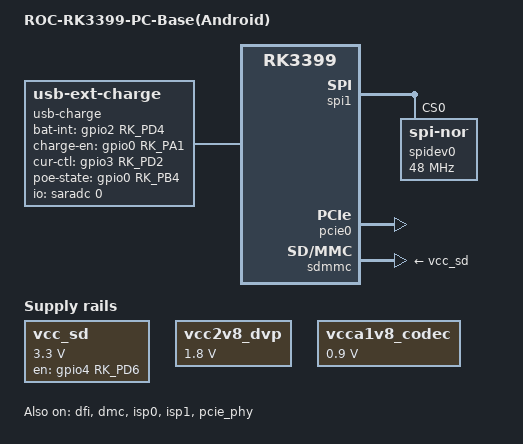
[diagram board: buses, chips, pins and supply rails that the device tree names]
/*
 * Copyright (c) 2016 Fuzhou Rockchip Electronics Co., Ltd
 *
 * This file is dual-licensed: you can use it either under the terms
 * of the GPL or the X11 license, at your option. Note that this dual
 * licensing only applies to this file, and not this project as a
 * whole.
 *
 *  a) This file is free software; you can redistribute it and/or
 *     modify it under the terms of the GNU General Public License as
 *     published by the Free Software Foundation; either version 2 of the
 *     License, or (at your option) any later version.
 *
 *     This file is distributed in the hope that it will be useful,
 *     but WITHOUT ANY WARRANTY; without even the implied warranty of
 *     MERCHANTABILITY or FITNESS FOR A PARTICULAR PURPOSE.  See the
 *     GNU General Public License for more details.
 *
 * Or, alternatively,
 *
 *  b) Permission is hereby granted, free of charge, to any person
 *     obtaining a copy of this software and associated documentation
 *     files (the "Software"), to deal in the Software without
 *     restriction, including without limitation the rights to use,
 *     copy, modify, merge, publish, distribute, sublicense, and/or
 *     sell copies of the Software, and to permit persons to whom the
 *     Software is furnished to do so, subject to the following
 *     conditions:
 *
 *     The above copyright notice and this permission notice shall be
 *     included in all copies or substantial portions of the Software.
 *
 *     THE SOFTWARE IS PROVIDED "AS IS", WITHOUT WARRANTY OF ANY KIND,
 *     EXPRESS OR IMPLIED, INCLUDING BUT NOT LIMITED TO THE WARRANTIES
 *     OF MERCHANTABILITY, FITNESS FOR A PARTICULAR PURPOSE AND
 *     NONINFRINGEMENT. IN NO EVENT SHALL THE AUTHORS OR COPYRIGHT
 *     HOLDERS BE LIABLE FOR ANY CLAIM, DAMAGES OR OTHER LIABILITY,
 *     WHETHER IN AN ACTION OF CONTRACT, TORT OR OTHERWISE, ARISING
 *     FROM, OUT OF OR IN CONNECTION WITH THE SOFTWARE OR THE USE OR
 *     OTHER DEALINGS IN THE SOFTWARE.
 */

/dts-v1/;

#include "rk3399-firefly-port.dtsi"

/ {
	model = "ROC-RK3399-PC-Base(Android)";
	compatible = "rockchip,android", "rockchip,roc-rk3399-pc", "rockchip,rk3399";

	test-power {
		status = "okay";
	};
	 vcc_sd:vcc-sd {
        compatible = "regulator-fixed";
        enable-active-high;
        gpio = <&gpio4 RK_PD6 GPIO_ACTIVE_HIGH>;
        pinctrl-names = "default";
        pinctrl-0 = <&vcc_sd_h>;                                                                                                                                                                               
        regulator-name = "vcc_sd";
        regulator-min-microvolt = <3300000>;
        regulator-max-microvolt = <3300000>;
        //regulator-always-on;
        //regulator-boot-on;
    };
		usb-charge {
		compatible = "usb-ext-charge";
		status = "okay";
		io-channels = <&saradc 0>;
        extcon = <&fusb0>;
		pinctrl-names = "default";
		pinctrl-0 = <&vcc_chargen_h &bat_int_h &cur_ctl_h &poe_det_h>;
	    bat-int = <&gpio2 RK_PD4 IRQ_TYPE_EDGE_RISING>;
		charge-en-gpios = <&gpio0 RK_PA1 GPIO_ACTIVE_HIGH>;
		cur-ctl-gpios = <&gpio3 RK_PD2 GPIO_ACTIVE_HIGH>;
		poe-state-gpios = <&gpio0 RK_PB4 GPIO_ACTIVE_HIGH>;
	};

};
/* LPDDR4 configuration */
&dfi {
	status = "okay";
};

&dmc {
	status = "okay";
	center-supply = <&vdd_center>;
	system-status-freq = <
		/*system status         freq(KHz)*/
		SYS_STATUS_NORMAL       856000
		SYS_STATUS_REBOOT       416000
		SYS_STATUS_SUSPEND      416000
		SYS_STATUS_VIDEO_1080P  416000
		SYS_STATUS_VIDEO_4K     856000
		SYS_STATUS_VIDEO_4K_10B 856000
		SYS_STATUS_PERFORMANCE  856000
		SYS_STATUS_BOOST        856000
		SYS_STATUS_DUALVIEW     856000
		SYS_STATUS_ISP          856000
	>;
	vop-bw-dmc-freq = <
	/* min_bw(MB/s) max_bw(MB/s) freq(KHz) */
		0       577      416000
		578     99999    856000
	>;
	auto-min-freq = <416000>;
	auto-freq-en = <1>;
};

&dmc_opp_table {
	compatible = "operating-points-v2";

	opp-200000000 {
		opp-hz = /bits/ 64 <200000000>;
		opp-microvolt = <900000>;
		status = "disabled";
	};
	opp-300000000 {
		opp-hz = /bits/ 64 <300000000>;
		opp-microvolt = <900000>;
		status = "disabled";
	};
	opp-400000000 {
		opp-hz = /bits/ 64 <400000000>;
		opp-microvolt = <900000>;
		status = "disabled";
	};
	opp-416000000 {
		opp-hz = /bits/ 64 <416000000>;
		opp-microvolt = <900000>;
	};
	opp-528000000 {
		opp-hz = /bits/ 64 <528000000>;
		opp-microvolt = <900000>;
		status = "disabled";
	};
	opp-600000000 {
		opp-hz = /bits/ 64 <600000000>;
		opp-microvolt = <900000>;
		status = "disabled";
	};
	opp-800000000 {
		opp-hz = /bits/ 64 <800000000>;
		opp-microvolt = <900000>;
		status = "disabled";
	};
	opp-856000000 {
		opp-hz = /bits/ 64 <856000000>;
		opp-microvolt = <900000>;
	};
	opp-928000000 {
		opp-hz = /bits/ 64 <928000000>;
		opp-microvolt = <900000>;
		status = "disabled";
	};
	opp-1056000000 {
		opp-hz = /bits/ 64 <1056000000>;
		opp-microvolt = <900000>;
		status = "disabled";
	};
};
/* END LPDDR4 configuration */

/* ROC-RK3399-PC porting */
&vcc2v8_dvp {
    regulator-min-microvolt = <1800000>;
    regulator-max-microvolt = <1800000>;
};

&vcca1v8_codec {
    regulator-min-microvolt = <900000>;
    regulator-max-microvolt = <900000>;
};
&io_domains {
    bt656-supply = <&vcc_3v0>;
	sdmmc-supply = <&vccio_sd>;     /* sdmmc_gpio4b_ms */
};

&rk808 {
	pinctrl-0 = <&pmic_int_l &pmic_dvs2>;
	/delete-property/ pmic,hold-gpio;
	/delete-property/ pmic,stby-gpio;
};

&vcc3v3_3g {
	status = "disabled";
};

&rt5640 {
	status = "disabled";
};
&rt5640_sound {
	status = "disabled";
};

&spi1{
	status = "okay";
    spidev0: spidev@00 {
        status = "okay";
        compatible = "jedec,spi-nor";
        reg = <0x00>;
        spi-max-frequency = <48000000>;
    };
};
&uart4 {
	status = "disabled";

};
/* END ROC-RK3399-PC porting */

&isp0 {
	status = "okay";
};

&isp1 {
	status = "okay";
};

&isp0_mmu {
	status = "okay";
};

&isp1_mmu {
	status = "okay";
};

&pcie_phy {
	status = "okay";
};

&pcie0 {
	status = "okay";
};
&rk808 {
	regulators {
		/delete-node/ LDO_REG4;
		vccio_sd: LDO_REG4 {
                regulator-always-on;
                regulator-boot-on;
                regulator-min-microvolt = <1800000>;
                regulator-max-microvolt = <3300000>;
                regulator-name = "vcc_sd";
                regulator-state-mem {
                    regulator-on-in-suspend;
                    regulator-suspend-microvolt = <3300000>;
                };
		};
      };
};
&pinctrl {
    vcc_sd {
        vcc_sd_h: vcc-sd-h {
            rockchip,pins = <4 30 RK_FUNC_GPIO &pcfg_pull_none>;
        };
    };
	chargen {
		vcc_chargen_h: vcc-chargen-h {
			rockchip,pins = <0 RK_PA1 RK_FUNC_GPIO &pcfg_pull_none>;
		};
		bat_int_h: bat-int-h {
			rockchip,pins = <2 RK_PD4 RK_FUNC_GPIO &pcfg_pull_none>;
		};
		cur_ctl_h: cur-ctl-h {
			rockchip,pins = <3 RK_PD2 RK_FUNC_GPIO &pcfg_pull_none_20ma>;
		};
		poe_det_h: poe-det-h {
			rockchip,pins = <0 RK_PB4 RK_FUNC_GPIO &pcfg_pull_down>;
		};
	};

};
&sdmmc {
	sd-uhs-sdr104;
	vmmc-supply = <&vcc_sd>;
    vqmmc-supply = <&vccio_sd>;
};
